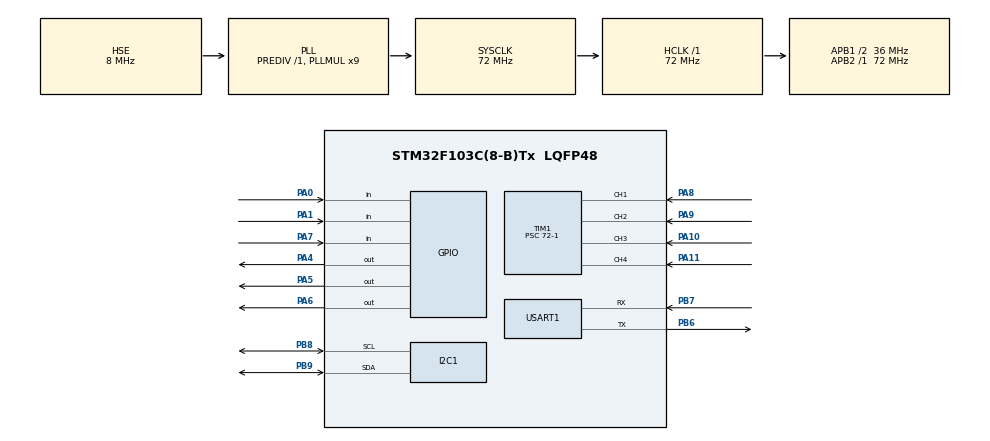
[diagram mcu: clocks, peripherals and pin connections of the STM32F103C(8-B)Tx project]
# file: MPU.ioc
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I2C1.I2C_Mode=I2C_Fast
Mcu.Family=STM32F1
Mcu.Name=STM32F103C(8-B)Tx
Mcu.Package=LQFP48
NVIC.PriorityGroup=NVIC_PRIORITYGROUP_4
NVIC.TIM1_CC_IRQn=true\:0\:0\:false\:false\:true\:true\:true
NVIC.TIM2_IRQn=true\:0\:0\:false\:false\:true\:false\:true
NVIC.TimeBase=TIM2_IRQn
NVIC.TimeBaseIP=TIM2
PA0-WKUP.GPIO_PuPd=GPIO_PULLUP
PA0-WKUP.Signal=GPIO_Input
PA1.Signal=GPIO_Input
PA10.Signal=S_TIM1_CH3
PA11.Signal=S_TIM1_CH4
PA13.Mode=Serial_Wire
PA13.Signal=SYS_JTMS-SWDIO
PA14.Mode=Serial_Wire
PA14.Signal=SYS_JTCK-SWCLK
PA4.Signal=GPIO_Output
PA5.Signal=GPIO_Output
PA6.Signal=GPIO_Output
PA7.GPIO_PuPd=GPIO_PULLUP
PA7.Signal=GPIO_Input
PA8.Signal=S_TIM1_CH1
PA9.Signal=S_TIM1_CH2
PB6.Mode=Asynchronous
PB6.Signal=USART1_TX
PB7.Mode=Asynchronous
PB7.Signal=USART1_RX
PB8.Mode=I2C
PB8.Signal=I2C1_SCL
PB9.Mode=I2C
PB9.Signal=I2C1_SDA
PC14-OSC32_IN.Mode=LSE-External-Oscillator
PC14-OSC32_IN.Signal=RCC_OSC32_IN
PC15-OSC32_OUT.Mode=LSE-External-Oscillator
PC15-OSC32_OUT.Signal=RCC_OSC32_OUT
PD0-OSC_IN.Mode=HSE-External-Oscillator
PD0-OSC_IN.Signal=RCC_OSC_IN
PD1-OSC_OUT.Mode=HSE-External-Oscillator
PD1-OSC_OUT.Signal=RCC_OSC_OUT
ProjectManager.HeapSize=0x200
ProjectManager.StackSize=0x400
ProjectManager.TargetToolchain=MDK-ARM V5
RCC.AHBFreq_Value=72000000
RCC.APB1CLKDivider=RCC_HCLK_DIV2
RCC.APB1Freq_Value=36000000
RCC.APB1TimFreq_Value=72000000
RCC.APB2Freq_Value=72000000
RCC.APB2TimFreq_Value=72000000
RCC.HCLKFreq_Value=72000000
RCC.PLLMUL=RCC_PLL_MUL9
RCC.PLLSourceVirtual=RCC_PLLSOURCE_HSE
RCC.SYSCLKFreq_VALUE=72000000
RCC.SYSCLKSource=RCC_SYSCLKSOURCE_PLLCLK
RCC.USBFreq_Value=72000000
SH.S_TIM1_CH1.0=TIM1_CH1,Input_Capture1_from_TI1
SH.S_TIM1_CH2.0=TIM1_CH2,Input_Capture2_from_TI2
SH.S_TIM1_CH3.0=TIM1_CH3,Input_Capture3_from_TI3
SH.S_TIM1_CH4.0=TIM1_CH4,Input_Capture4_from_TI4
TIM1.Channel-Input_Capture1_from_TI1=TIM_CHANNEL_1
TIM1.Channel-Input_Capture2_from_TI2=TIM_CHANNEL_2
TIM1.Channel-Input_Capture3_from_TI3=TIM_CHANNEL_3
TIM1.Channel-Input_Capture4_from_TI4=TIM_CHANNEL_4
TIM1.Prescaler=72-1
USART1.VirtualMode=VM_ASYNC
VP_SYS_VS_tim2.Mode=TIM2
board=custom

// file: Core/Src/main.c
/* USER CODE BEGIN Header */
/**
  ******************************************************************************
  * @file           : main.c
  * @brief          : Main program body
  ******************************************************************************
  * @attention
  *
  * <h2><center>&copy; Copyright (c) 2021 STMicroelectronics.
  * All rights reserved.</center></h2>
  *
  * This software component is licensed by ST under BSD 3-Clause license,
  * the "License"; You may not use this file except in compliance with the
  * License. You may obtain a copy of the License at:
  *                        opensource.org/licenses/BSD-3-Clause
  *
  ******************************************************************************
  */
/* USER CODE END Header */
#include "main.h"

/* USER CODE BEGIN Includes */
#include <stdio.h>
#include <stdlib.h>
#include <string.h>
#include "math.h"
#include "MPU6050.h"
#include "Kalman.h"
//#include "FIR.h"

/* USER CODE END Includes */

I2C_HandleTypeDef hi2c1;

TIM_HandleTypeDef htim1;

UART_HandleTypeDef huart1;

/* USER CODE BEGIN PV */
void Kalman_Setup(void);
void Kalman_MainFunction(void);
void IMU_GetError(void);
/* USER CODE END PV */

void SystemClock_Config(void);
static void MX_GPIO_Init(void);
static void MX_USART1_UART_Init(void);
static void MX_TIM1_Init(void);
static void MX_I2C1_Init(void);

/* USER CODE BEGIN 0 */
int16_t Acc_rawX, Acc_rawY, Acc_rawZ,Gyr_rawX, Gyr_rawY, Gyr_rawZ;

float Acceleration_angle[3];
float Gyro_angle[3];
float Total_angle[3];

float Acceleration_angle_nofilter[2];
float Gyro_angle_nofilter[2];
float Total_angle_nofilter[2];

float speed;
int16_t anglespitch;
int16_t anglesroll;
int16_t anglespitch_nofilter;
double accX, accY, accZ;
double gyroX , gyroY, gyroZ;
int16_t tempRaw;

float ErrorAX = 0 ;
float ErrorAY = 0 ;

volatile double gyroXangle, gyroYangle , gyroZangle; // Angle calculate using the gyro only
double compAngleX, compAngleY; // Calculated angle using a complementary filter
float kalAngleX, kalAngleY ,kalAngleZ ; // Calculated angle using a Kalman filter
float gyro_x_cal ;
float gyro_y_cal ;
float gyro_z_cal ;
float elapsedTime, time, timePrev;

float RAD_TO_DEG = 180/3.141592654;

int16_t KalmanAngle = 0 ;
int16_t CompAngle   = 0 ;

MPU_Data Data;
MPU_Data DataOut;
MPU_Data RawData;

/* USER CODE END 0 */

int main(void)
{

  /* MCU Configuration--------------------------------------------------------*/

  /* Reset of all peripherals, Initializes the Flash interface and the Systick. */
  HAL_Init();

  /* Configure the system clock */
  SystemClock_Config();

  /* Initialize all configured peripherals */
  MX_GPIO_Init();
  MX_USART1_UART_Init();
  MX_TIM1_Init();
  MX_I2C1_Init();
  /* USER CODE BEGIN 2 */
	MPU_Init(&hi2c1 , IMU_ACCEL_SCALE_2g , IMU_GYRO_SCALE_250);
	IMU_GetError();
	Kalman_Setup();

  /* USER CODE END 2 */

  /* Infinite loop */
  /* USER CODE BEGIN WHILE */
  while (1)
  {

			Kalman_MainFunction();

    /* USER CODE END WHILE */

  }
}

void SystemClock_Config(void)
{
  RCC_OscInitTypeDef RCC_OscInitStruct = {0};
  RCC_ClkInitTypeDef RCC_ClkInitStruct = {0};

  /** Initializes the RCC Oscillators according to the specified parameters
  * in the RCC_OscInitTypeDef structure.
  */
  RCC_OscInitStruct.OscillatorType = RCC_OSCILLATORTYPE_HSE;
  RCC_OscInitStruct.HSEState = RCC_HSE_ON;
  RCC_OscInitStruct.HSEPredivValue = RCC_HSE_PREDIV_DIV1;
  RCC_OscInitStruct.HSIState = RCC_HSI_ON;
  RCC_OscInitStruct.PLL.PLLState = RCC_PLL_ON;
  RCC_OscInitStruct.PLL.PLLSource = RCC_PLLSOURCE_HSE;
  RCC_OscInitStruct.PLL.PLLMUL = RCC_PLL_MUL9;
  if (HAL_RCC_OscConfig(&RCC_OscInitStruct) != HAL_OK)
  {
    Error_Handler();
  }
  /** Initializes the CPU, AHB and APB buses clocks
  */
  RCC_ClkInitStruct.ClockType = RCC_CLOCKTYPE_HCLK|RCC_CLOCKTYPE_SYSCLK
                              |RCC_CLOCKTYPE_PCLK1|RCC_CLOCKTYPE_PCLK2;
  RCC_ClkInitStruct.SYSCLKSource = RCC_SYSCLKSOURCE_PLLCLK;
  RCC_ClkInitStruct.AHBCLKDivider = RCC_SYSCLK_DIV1;
  RCC_ClkInitStruct.APB1CLKDivider = RCC_HCLK_DIV2;
  RCC_ClkInitStruct.APB2CLKDivider = RCC_HCLK_DIV1;

  if (HAL_RCC_ClockConfig(&RCC_ClkInitStruct, FLASH_LATENCY_2) != HAL_OK)
  {
    Error_Handler();
  }
}

static void MX_I2C1_Init(void)
{

  hi2c1.Instance = I2C1;
  hi2c1.Init.ClockSpeed = 400000;
  hi2c1.Init.DutyCycle = I2C_DUTYCYCLE_2;
  hi2c1.Init.OwnAddress1 = 0;
  hi2c1.Init.AddressingMode = I2C_ADDRESSINGMODE_7BIT;
  hi2c1.Init.DualAddressMode = I2C_DUALADDRESS_DISABLE;
  hi2c1.Init.OwnAddress2 = 0;
  hi2c1.Init.GeneralCallMode = I2C_GENERALCALL_DISABLE;
  hi2c1.Init.NoStretchMode = I2C_NOSTRETCH_DISABLE;
  if (HAL_I2C_Init(&hi2c1) != HAL_OK)
  {
    Error_Handler();
  }

}

static void MX_TIM1_Init(void)
{

  TIM_MasterConfigTypeDef sMasterConfig = {0};
  TIM_IC_InitTypeDef sConfigIC = {0};

  htim1.Instance = TIM1;
  htim1.Init.Prescaler = 72-1;
  htim1.Init.CounterMode = TIM_COUNTERMODE_UP;
  htim1.Init.Period = 65535;
  htim1.Init.ClockDivision = TIM_CLOCKDIVISION_DIV1;
  htim1.Init.RepetitionCounter = 0;
  htim1.Init.AutoReloadPreload = TIM_AUTORELOAD_PRELOAD_DISABLE;
  if (HAL_TIM_IC_Init(&htim1) != HAL_OK)
  {
    Error_Handler();
  }
  sMasterConfig.MasterOutputTrigger = TIM_TRGO_RESET;
  sMasterConfig.MasterSlaveMode = TIM_MASTERSLAVEMODE_DISABLE;
  if (HAL_TIMEx_MasterConfigSynchronization(&htim1, &sMasterConfig) != HAL_OK)
  {
    Error_Handler();
  }
  sConfigIC.ICPolarity = TIM_INPUTCHANNELPOLARITY_RISING;
  sConfigIC.ICSelection = TIM_ICSELECTION_DIRECTTI;
  sConfigIC.ICPrescaler = TIM_ICPSC_DIV1;
  sConfigIC.ICFilter = 0;
  if (HAL_TIM_IC_ConfigChannel(&htim1, &sConfigIC, TIM_CHANNEL_1) != HAL_OK)
  {
    Error_Handler();
  }
  if (HAL_TIM_IC_ConfigChannel(&htim1, &sConfigIC, TIM_CHANNEL_2) != HAL_OK)
  {
    Error_Handler();
  }
  if (HAL_TIM_IC_ConfigChannel(&htim1, &sConfigIC, TIM_CHANNEL_3) != HAL_OK)
  {
    Error_Handler();
  }
  if (HAL_TIM_IC_ConfigChannel(&htim1, &sConfigIC, TIM_CHANNEL_4) != HAL_OK)
  {
    Error_Handler();
  }

}

static void MX_USART1_UART_Init(void)
{

  huart1.Instance = USART1;
  huart1.Init.BaudRate = 115200;
  huart1.Init.WordLength = UART_WORDLENGTH_8B;
  huart1.Init.StopBits = UART_STOPBITS_1;
  huart1.Init.Parity = UART_PARITY_NONE;
  huart1.Init.Mode = UART_MODE_TX_RX;
  huart1.Init.HwFlowCtl = UART_HWCONTROL_NONE;
  huart1.Init.OverSampling = UART_OVERSAMPLING_16;
  if (HAL_UART_Init(&huart1) != HAL_OK)
  {
    Error_Handler();
  }

}

static void MX_GPIO_Init(void)
{
  GPIO_InitTypeDef GPIO_InitStruct = {0};

  /* GPIO Ports Clock Enable */
  __HAL_RCC_GPIOC_CLK_ENABLE();
  __HAL_RCC_GPIOD_CLK_ENABLE();
  __HAL_RCC_GPIOA_CLK_ENABLE();
  __HAL_RCC_GPIOB_CLK_ENABLE();

  /*Configure GPIO pin Output Level */
  HAL_GPIO_WritePin(GPIOA, GPIO_PIN_4|GPIO_PIN_5|GPIO_PIN_6, GPIO_PIN_RESET);

  /*Configure GPIO pins : PA0 PA7 */
  GPIO_InitStruct.Pin = GPIO_PIN_0|GPIO_PIN_7;
  GPIO_InitStruct.Mode = GPIO_MODE_INPUT;
  GPIO_InitStruct.Pull = GPIO_PULLUP;
  HAL_GPIO_Init(GPIOA, &GPIO_InitStruct);

  /*Configure GPIO pin : PA1 */
  GPIO_InitStruct.Pin = GPIO_PIN_1;
  GPIO_InitStruct.Mode = GPIO_MODE_INPUT;
  GPIO_InitStruct.Pull = GPIO_NOPULL;
  HAL_GPIO_Init(GPIOA, &GPIO_InitStruct);

  /*Configure GPIO pins : PA4 PA5 PA6 */
  GPIO_InitStruct.Pin = GPIO_PIN_4|GPIO_PIN_5|GPIO_PIN_6;
  GPIO_InitStruct.Mode = GPIO_MODE_OUTPUT_PP;
  GPIO_InitStruct.Pull = GPIO_NOPULL;
  GPIO_InitStruct.Speed = GPIO_SPEED_FREQ_LOW;
  HAL_GPIO_Init(GPIOA, &GPIO_InitStruct);

}

/* USER CODE BEGIN 4 */

Kalman_Angle Angle_Pitch;
Kalman_Angle Angle_Roll;
void Kalman_Setup(void)
{
	Kalamn_InitAngle(&Angle_Pitch);
	Kalamn_InitAngle(&Angle_Roll);
	uint8_t MPU_Date[14] ;

		/*Read all MPU6050's Data*/
		HAL_I2C_Mem_Read(&hi2c1 , MPU6050_SLAVE_ADDR , ACCEL_XOUT_H , 1 , MPU_Date , 14 , HAL_MAX_DELAY);

		/*Rearrange the mpu6050' data*/
		accX = (int16_t)(MPU_Date[0]  << 8 | MPU_Date[1] );
		accY = (int16_t)(MPU_Date[2]  << 8 | MPU_Date[3] );
		accZ = (int16_t)(MPU_Date[4]  << 8 | MPU_Date[5] );
		//Temp_Raw= (int16_t)(MPU_Date[6]  << 8 | MPU_Date[7] );
		gyroX  = (int16_t)(MPU_Date[8]  << 8 | MPU_Date[9] );
		gyroY  = (int16_t)(MPU_Date[10] << 8 | MPU_Date[11]);
		gyroZ  = (int16_t)(MPU_Date[12] << 8 | MPU_Date[12]);

	  gyroX	-= gyro_x_cal ;
	  gyroY -= gyro_y_cal ;
	  gyroZ	-= gyro_z_cal ;

		double pitch   = atan(-accY / sqrt(accX * accX + accZ * accZ)) * RAD_TO_DEG;//+ ErrorAY;
    double roll = (atan2(-accX, accZ))* RAD_TO_DEG ;//-  ErrorAX ;
		roll    -= ErrorAY ;
		pitch   -= ErrorAX ;

		Kalman_setAngle(&Angle_Pitch,pitch);
		Kalman_setAngle(&Angle_Roll,roll);
	  gyroXangle = roll;
    gyroYangle = pitch;
    compAngleX = roll;
    compAngleY = pitch;

	  time = HAL_GetTick();
}

void Kalman_MainFunction(void)
{
		uint8_t MPU_Date[14] ;

		/*Read all MPU6050's Data*/
		HAL_I2C_Mem_Read(&hi2c1 , MPU6050_SLAVE_ADDR , ACCEL_XOUT_H , 1 , MPU_Date , 14 , HAL_MAX_DELAY);

		/*Rearrange the mpu6050' data*/
		accX = (int16_t)(MPU_Date[0]  << 8 | MPU_Date[1] );
		accY = (int16_t)(MPU_Date[2]  << 8 | MPU_Date[3] );
		accZ = (int16_t)(MPU_Date[4]  << 8 | MPU_Date[5] );
		//Temp_Raw= (int16_t)(MPU_Date[6]  << 8 | MPU_Date[7] );
		gyroX  = (int16_t)(MPU_Date[8]  << 8 | MPU_Date[9] );
		gyroY  = (int16_t)(MPU_Date[10] << 8 | MPU_Date[11]);
		gyroZ  = (int16_t)(MPU_Date[12] << 8 | MPU_Date[12]);

		gyroX	-= gyro_x_cal ;
		gyroY -= gyro_y_cal ;
	   gyroZ	-= gyro_z_cal ;

       timePrev = time;
	   time = HAL_GetTick();
		 elapsedTime = (time - timePrev) / 1000;

		double pitch   = atan(-accY / sqrt(accX * accX + accZ * accZ)) * RAD_TO_DEG;//+ ErrorAY;
    double roll = (atan2(-accX, accZ))* RAD_TO_DEG ;//-  ErrorAX ;
		roll    -= ErrorAY;
	  pitch   -= ErrorAX ;

	double gyroXrate = gyroX / 131.0; // Convert to deg/s
	double gyroYrate = gyroY / 131.0; // Convert to deg/s
	double gyroZrate = gyroZ / 131.0; // Convert to deg/s

	gyroXangle += gyroXrate * elapsedTime; // Calculate gyro angle without any filter
  gyroYangle += gyroYrate * elapsedTime;
	gyroZangle += gyroZrate * elapsedTime;

	 if ((pitch < -90 && kalAngleY > 90) || (pitch > 90 && kalAngleY < -90))
	{
    Kalman_setAngle(&Angle_Pitch,pitch);
    kalAngleY = pitch;
    gyroYangle = pitch;
  }
	else
	{
    kalAngleX = Kalman_getAngle(&Angle_Pitch, pitch, gyroYrate, elapsedTime); // Calculate the angle using a Kalman filter
	}

  if (fabs(kalAngleY) > 90)
	{
    gyroXrate = -gyroXrate; // Invert rate, so it fits the restriced accelerometer reading
	}
  kalAngleY = Kalman_getAngle(&Angle_Roll,roll , gyroXrate, elapsedTime); // Calculate the angle using a Kalman filter

  compAngleX = 0.95 * (compAngleX + gyroXrate * elapsedTime) + 0.05 * (roll);

  compAngleY = 0.95 * (compAngleY + gyroYrate * elapsedTime) + 0.05 * (pitch);

  if (gyroXangle < -180 || gyroXangle > 180)
	{
    gyroXangle = kalAngleX;
	}
  if (gyroYangle < -180 || gyroYangle > 180)
	{
    gyroYangle = kalAngleY;
	}

}

void IMU_GetError(void)
{
		uint8_t MPU_Date[6] ;

		/*Read all MPU6050's Data*/
		for(uint16_t Local = 0 ; Local < 2000 ; Local++)
		{
			 uint8_t MPU_Date[6] ;

		 /*Read all MPU6050's Data*/
			HAL_I2C_Mem_Read(&hi2c1 , MPU6050_SLAVE_ADDR , GYRO_XOUT_H , 1 , MPU_Date , 6 , HAL_MAX_DELAY);

			/*Rearrange the mpu6050' data*/
			float gyrox = (int16_t)(MPU_Date[0]  << 8 | MPU_Date[1] );
			float gyroy = (int16_t)(MPU_Date[2]  << 8 | MPU_Date[3] );
			float gyroz = (int16_t)(MPU_Date[4]  << 8 | MPU_Date[5] );

			gyro_x_cal	 += gyrox ;
			gyro_y_cal   += gyroy ;
			gyro_z_cal   += gyroz ;

		}

		gyro_x_cal /= 2000;
		gyro_y_cal /= 2000;
		gyro_z_cal /= 2000;

		for(uint16_t Local = 0 ; Local < 200 ; Local++)
		{
			 uint8_t MPU_Date[6] ;

		 /*Read all MPU6050's Data*/
			HAL_I2C_Mem_Read(&hi2c1 , MPU6050_SLAVE_ADDR , ACCEL_XOUT_H , 1 , MPU_Date , 6 , HAL_MAX_DELAY);

			/*Rearrange the mpu6050' data*/
			float accelx = (int16_t)(MPU_Date[0]  << 8 | MPU_Date[1] );
			float accely = (int16_t)(MPU_Date[2]  << 8 | MPU_Date[3] );
			float accelz = (int16_t)(MPU_Date[4]  << 8 | MPU_Date[5] );

			double pitch   = atan(-accely / sqrt(accelx * accelx + accelz * accelz)) * RAD_TO_DEG;//+ ErrorAY;
      double roll = (atan2(-accelx, accelz))* RAD_TO_DEG ;//-  ErrorAX ;

			ErrorAX += pitch;
			ErrorAY += roll;

		}

		ErrorAX /= 200;
		ErrorAY /= 200;
}

/* USER CODE END 4 */

 /**
  * @brief  Period elapsed callback in non blocking mode
  * @note   This function is called  when TIM2 interrupt took place, inside
  * HAL_TIM_IRQHandler(). It makes a direct call to HAL_IncTick() to increment
  * a global variable "uwTick" used as application time base.
  * @param  htim : TIM handle
  * @retval None
  */
void HAL_TIM_PeriodElapsedCallback(TIM_HandleTypeDef *htim)
{
  if (htim->Instance == TIM2) {
    HAL_IncTick();
  }
}

void Error_Handler(void)
{
  __disable_irq();
  while (1)
  {
  }
}

/************************ (C) COPYRIGHT STMicroelectronics *****END OF FILE****/
